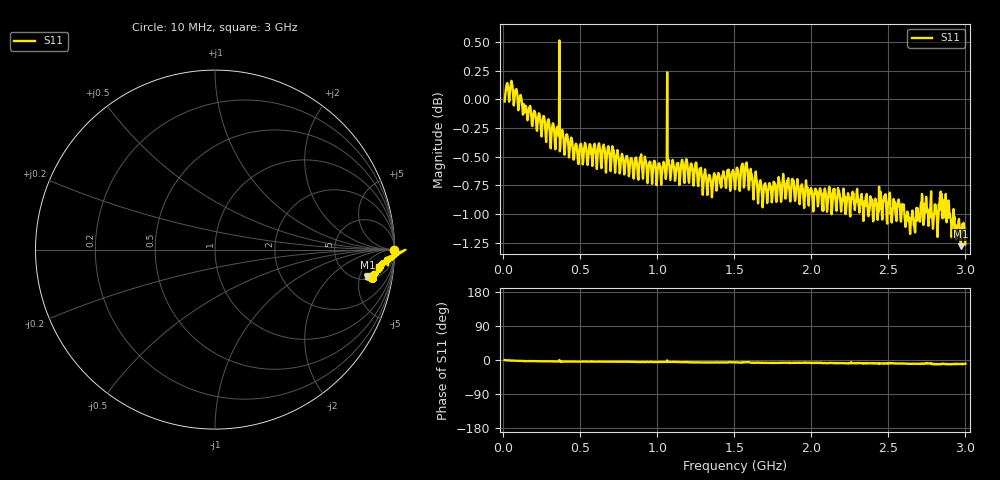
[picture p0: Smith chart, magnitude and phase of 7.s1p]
# HZ S RI R 50
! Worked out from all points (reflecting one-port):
!   1010 points, 10 MHz to 3 GHz, reference 50 ohm
!   lowest |S11| = -1.3 dB at 2.97 GHz (marker M1), VSWR 13.60, Z = 279 - j332 ohm
!   phase of S11 starts at -0 deg and turns -10 deg over the sweep
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1e7  0.9978 -0.00253
4.555996e7  1.009 -0.0231
1.433498e8  0.9908 -0.054
3.24113e8  0.9743 -0.0627
3.626363e8  0.9616 -0.0627
3.863429e8  0.9659 -0.0686
7.597225e8  0.9285 -0.071
8.871457e8  0.9367 -0.0905
1.041239e9  0.9353 -0.085
1.079762e9  0.9328 -0.0787
1.133102e9  0.9327 -0.0875
1.290159e9  0.9172 -0.1059
1.506482e9  0.9078 -0.1045
1.536115e9  0.9053 -0.1127
1.586492e9  0.9276 -0.0944
1.622052e9  0.9056 -0.1103
1.879861e9  0.914 -0.1206
2.253241e9  0.879 -0.1337
2.457711e9  0.8825 -0.1457
2.514014e9  0.8824 -0.1266
2.62662e9  0.8789 -0.1542
2.69774e9  0.8734 -0.1545
2.762934e9  0.8786 -0.138
2.79553e9  0.8741 -0.1662
2.84887e9  0.8761 -0.1532
2.896283e9  0.874 -0.1736
2.970367e9  0.8495 -0.152
3e9  0.8521 -0.1463
